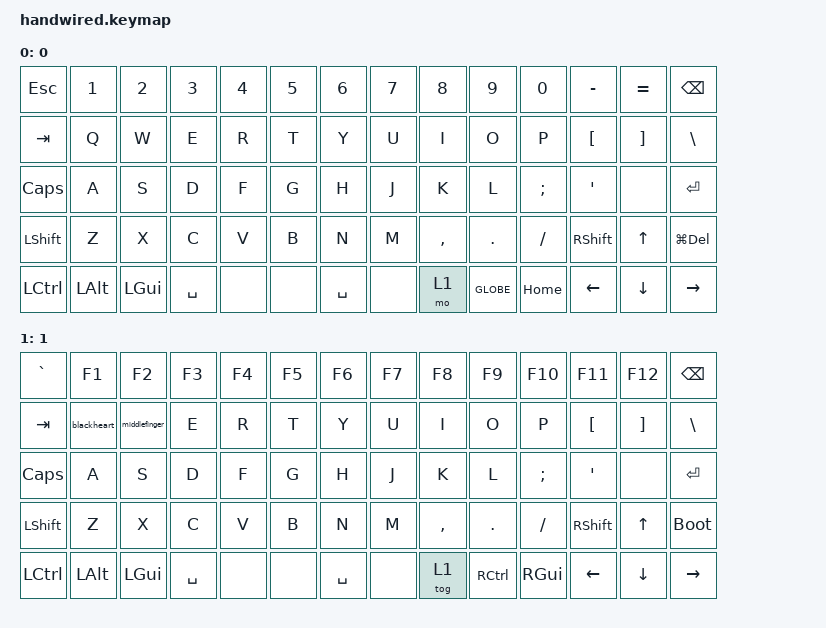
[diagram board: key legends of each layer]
// sudo west build -p -d build/handwired -b sparkfun_pro_micro_rp2040 -- -DSHIELD=handwired -DZMK_EXTRA_MODULES=/Users/ameer/keyboard/zmk-config 

#include <behaviors.dtsi>
#include <dt-bindings/zmk/keys.h>


/ {
    macros {
        blackheart: black_heart_emoji {
            compatible = "zmk,behavior-macro";
            #binding-cells = <0>;
            wait-ms = <1>;
            tap-ms = <1>;
            bindings
                = <&macro_press &kp LCTRL &kp LGUI>
                , <&macro_tap &kp SPACE>
                , <&macro_release &kp LCTRL &kp LGUI>
                , <&macro_wait_time 75>
                , <&macro_tap &kp LSHIFT>
                , <&macro_wait_time 1>
                , <&macro_tap &kp B &kp L &kp A &kp C &kp K &kp SPACE &kp H &kp E &kp A &kp R>
                , <&macro_wait_time 300>
                , <&macro_tap &kp T>
                , <&macro_wait_time 1>
                , <&macro_tap &kp RETURN &kp RETURN>
                ;
        };
        middlefinger: middle_finger_emoji {
            compatible = "zmk,behavior-macro";
            #binding-cells = <0>;
            wait-ms = <1>;
            tap-ms = <1>;
            bindings
                = <&macro_press &kp LCTRL &kp LGUI>
                , <&macro_tap &kp SPACE>
                , <&macro_release &kp LCTRL &kp LGUI>
                , <&macro_wait_time 75>
                , <&macro_tap &kp LSHIFT>
                , <&macro_wait_time 1>
                , <&macro_tap &kp M &kp I &kp D &kp D &kp L &kp E &kp SPACE &kp F &kp I &kp N &kp G &kp E>
                , <&macro_wait_time 300>
                , <&macro_tap &kp R>
                , <&macro_wait_time 1>
                , <&macro_tap &kp RETURN &kp RETURN>
                ;        
        };
    };
    keymap {
        compatible = "zmk,keymap";

        0 {
            bindings = <
            	&kp ESC &kp N1 &kp N2 &kp N3 &kp N4 &kp N5 &kp N6 &kp N7 &kp N8 &kp N9 &kp N0 &kp MINUS &kp EQUAL &kp BSPC
				&kp TAB &kp Q &kp W &kp E &kp R &kp T &kp Y &kp U &kp I &kp O &kp P &kp LBKT &kp RBKT &kp BSLH
				&kp CAPS &kp A &kp S &kp D &kp F &kp G &kp H &kp J &kp K &kp L &kp SEMI &kp APOS &none &kp RETURN
				&kp LSHIFT &kp Z &kp X &kp C &kp V &kp B &kp N &kp M &kp COMMA &kp DOT &kp SLASH &kp RSHIFT &kp UP &kp LG(DELETE)
				&kp LCTL &kp LALT &kp LGUI &kp SPACE &none &none &kp SPACE &none &mo 1 &kp GLOBE &kp HOME &kp LEFT &kp DOWN &kp RIGHT
            >;
        };
        1 {
            bindings = <
            	&kp GRAVE &kp F1 &kp F2 &kp F3 &kp F4 &kp F5 &kp F6 &kp F7 &kp F8 &kp F9 &kp F10 &kp F11 &kp F12 &kp BSPC
				&kp TAB &blackheart &middlefinger &kp E &kp R &kp T &kp Y &kp U &kp I &kp O &kp P &kp LBKT &kp RBKT &kp BSLH
				&kp CAPS &kp A &kp S &kp D &kp F &kp G &kp H &kp J &kp K &kp L &kp SEMI &kp APOS &none &kp RETURN
				&kp LSHIFT &kp Z &kp X &kp C &kp V &kp B &kp N &kp M &kp COMMA &kp DOT &kp SLASH &kp RSHIFT &kp UP &bootloader
				&kp LCTL &kp LALT &kp LGUI &kp SPACE &none &none &kp SPACE &none &tog 1 &kp RCTL &kp RGUI &kp LEFT &kp DOWN &kp RIGHT
            >;
            };
        };
    };
